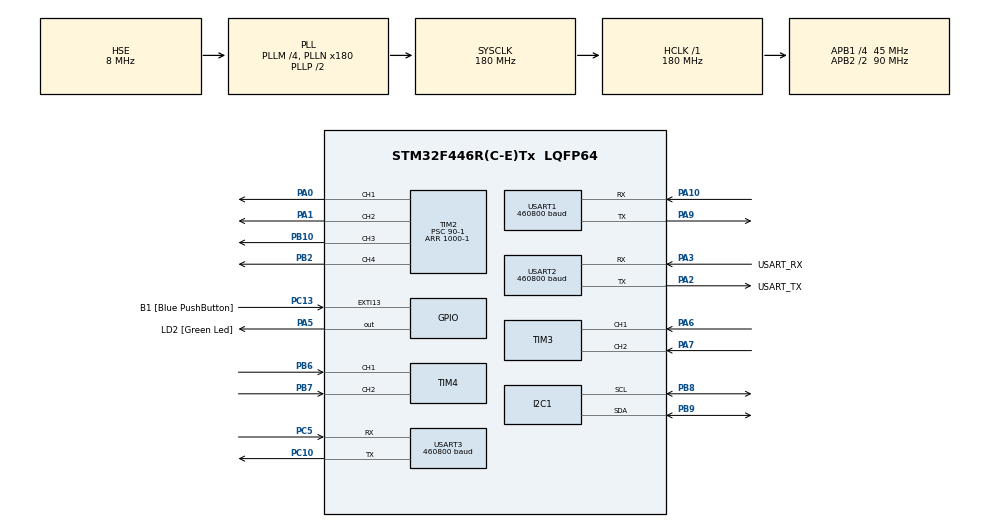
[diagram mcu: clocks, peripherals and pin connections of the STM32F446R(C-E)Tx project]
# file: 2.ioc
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Dma.Request0=USART3_RX
Dma.USART3_RX.0.Direction=DMA_PERIPH_TO_MEMORY
Dma.USART3_RX.0.FIFOMode=DMA_FIFOMODE_DISABLE
Dma.USART3_RX.0.Instance=DMA1_Stream1
Dma.USART3_RX.0.MemDataAlignment=DMA_MDATAALIGN_BYTE
Dma.USART3_RX.0.MemInc=DMA_MINC_ENABLE
Dma.USART3_RX.0.Mode=DMA_NORMAL
Dma.USART3_RX.0.PeriphDataAlignment=DMA_PDATAALIGN_BYTE
Dma.USART3_RX.0.PeriphInc=DMA_PINC_DISABLE
Dma.USART3_RX.0.Priority=DMA_PRIORITY_LOW
Mcu.Family=STM32F4
Mcu.Name=STM32F446R(C-E)Tx
Mcu.Package=LQFP64
NVIC.DMA1_Stream1_IRQn=true\:0\:0\:false\:false\:true\:false\:true\:true
NVIC.PriorityGroup=NVIC_PRIORITYGROUP_0
NVIC.TIM6_DAC_IRQn=true\:0\:0\:false\:false\:true\:true\:true\:true
NVIC.USART1_IRQn=true\:0\:0\:false\:false\:true\:true\:true\:true
NVIC.USART3_IRQn=true\:0\:0\:false\:false\:true\:true\:true\:true
PA0-WKUP.Signal=S_TIM2_CH1_ETR
PA1.Signal=S_TIM2_CH2
PA10.Mode=Asynchronous
PA10.Signal=USART1_RX
PA13.GPIO_Label=TMS
PA13.Mode=Serial_Wire
PA13.Signal=SYS_JTMS-SWDIO
PA14.GPIO_Label=TCK
PA14.Mode=Serial_Wire
PA14.Signal=SYS_JTCK-SWCLK
PA2.GPIO_Label=USART_TX
PA2.Mode=Asynchronous
PA2.Signal=USART2_TX
PA3.GPIO_Label=USART_RX
PA3.Mode=Asynchronous
PA3.Signal=USART2_RX
PA5.GPIO_Label=LD2 [Green Led]
PA5.Signal=GPIO_Output
PA6.Signal=S_TIM3_CH1
PA7.Signal=S_TIM3_CH2
PA9.Mode=Asynchronous
PA9.Signal=USART1_TX
PB10.Signal=S_TIM2_CH3
PB2.Signal=S_TIM2_CH4
PB3.GPIO_Label=SWO
PB3.Signal=SYS_JTDO-SWO
PB6.Signal=S_TIM4_CH1
PB7.Signal=S_TIM4_CH2
PB8.Mode=I2C
PB8.Signal=I2C1_SCL
PB9.Mode=I2C
PB9.Signal=I2C1_SDA
PC10.Mode=Asynchronous
PC10.Signal=USART3_TX
PC13.GPIO_Label=B1 [Blue PushButton]
PC13.GPIO_ModeDefaultEXTI=GPIO_MODE_IT_FALLING
PC13.Signal=GPXTI13
PC14-OSC32_IN.Mode=LSE-External-Oscillator
PC14-OSC32_IN.Signal=RCC_OSC32_IN
PC15-OSC32_OUT.Mode=LSE-External-Oscillator
PC15-OSC32_OUT.Signal=RCC_OSC32_OUT
PC5.Mode=Asynchronous
PC5.Signal=USART3_RX
PH0-OSC_IN.Mode=HSE-External-Oscillator
PH0-OSC_IN.Signal=RCC_OSC_IN
PH1-OSC_OUT.Mode=HSE-External-Oscillator
PH1-OSC_OUT.Signal=RCC_OSC_OUT
ProjectManager.HeapSize=0x200
ProjectManager.StackSize=0x400
ProjectManager.TargetToolchain=MDK-ARM V5.32
RCC.48MHZClocksFreq_Value=84000000
RCC.AHBFreq_Value=180000000
RCC.APB1CLKDivider=RCC_HCLK_DIV4
RCC.APB1Freq_Value=45000000
RCC.APB1TimFreq_Value=90000000
RCC.APB2CLKDivider=RCC_HCLK_DIV2
RCC.APB2Freq_Value=90000000
RCC.APB2TimFreq_Value=180000000
RCC.CortexFreq_Value=180000000
RCC.FLatency-AdvancedSettings=FLASH_LATENCY_5
RCC.HCLKFreq_Value=180000000
RCC.HSE_VALUE=8000000
RCC.HSI_VALUE=16000000
RCC.PLLM=4
RCC.PLLN=180
RCC.PLLSourceVirtual=RCC_PLLSOURCE_HSE
RCC.RCC_RTC_Clock_SourceVirtual=RCC_RTCCLKSOURCE_LSE
RCC.SYSCLKFreq_VALUE=180000000
RCC.SYSCLKSource=RCC_SYSCLKSOURCE_PLLCLK
RCC.USBFreq_Value=180000000
RCC.VCOOutputFreq_Value=360000000
RTC.Month=RTC_MONTH_OCTOBER
RTC.WeekDay=RTC_WEEKDAY_WEDNESDAY
RTC.Year=25
SH.S_TIM2_CH1_ETR.0=TIM2_CH1,PWM Generation1 CH1
SH.S_TIM2_CH2.0=TIM2_CH2,PWM Generation2 CH2
SH.S_TIM2_CH3.0=TIM2_CH3,PWM Generation3 CH3
SH.S_TIM2_CH4.0=TIM2_CH4,PWM Generation4 CH4
SH.S_TIM3_CH1.0=TIM3_CH1,Encoder_Interface
SH.S_TIM3_CH2.0=TIM3_CH2,Encoder_Interface
SH.S_TIM4_CH1.0=TIM4_CH1,Encoder_Interface
SH.S_TIM4_CH2.0=TIM4_CH2,Encoder_Interface
TIM2.AutoReloadPreload=TIM_AUTORELOAD_PRELOAD_DISABLE
TIM2.Channel-PWM\ Generation1\ CH1=TIM_CHANNEL_1
TIM2.Channel-PWM\ Generation2\ CH2=TIM_CHANNEL_2
TIM2.Channel-PWM\ Generation3\ CH3=TIM_CHANNEL_3
TIM2.Channel-PWM\ Generation4\ CH4=TIM_CHANNEL_4
TIM2.Period=1000-1
TIM2.Prescaler=90-1
TIM3.IC1Polarity=TIM_ICPOLARITY_FALLING
TIM3.IC2Polarity=TIM_ICPOLARITY_FALLING
TIM4.IC1Polarity=TIM_ICPOLARITY_RISING
TIM4.IC2Polarity=TIM_ICPOLARITY_RISING
TIM6.AutoReloadPreload=TIM_AUTORELOAD_PRELOAD_ENABLE
TIM6.Period=1000-1
TIM6.Prescaler=90-1
USART1.BaudRate=460800
USART1.VirtualMode=VM_ASYNC
USART2.BaudRate=460800
USART2.VirtualMode=VM_ASYNC
USART3.BaudRate=460800
USART3.VirtualMode=VM_ASYNC
VP_RTC_VS_RTC_Activate.Mode=RTC_Enabled
VP_RTC_VS_RTC_Calendar.Mode=RTC_Calendar
VP_TIM6_VS_ClockSourceINT.Mode=Enable_Timer
board=NUCLEO-F446RE

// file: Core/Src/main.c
/* USER CODE BEGIN Header */
/**
  ******************************************************************************
  * @file           : main.c
  * @brief          : Main program body
  ******************************************************************************
  * @attention
  *
  * Copyright (c) 2025 STMicroelectronics.
  * All rights reserved.
  *
  * This software is licensed under terms that can be found in the LICENSE file
  * in the root directory of this software component.
  * If no LICENSE file comes with this software, it is provided AS-IS.
  *
  ******************************************************************************
  */
/* USER CODE END Header */
#include "main.h"
#include "dma.h"
#include "i2c.h"
#include "rtc.h"
#include "tim.h"
#include "usart.h"
#include "gpio.h"

/* USER CODE BEGIN Includes */
#include "mpu6500.h"
/* USER CODE END Includes */

/* USER CODE BEGIN PV */
/* USER CODE BEGIN PV */

// Global variable declaration
uint8_t rx_buffer[1];           // USART1 receive buffer
uint8_t led_state = 0;          // LED state: 0-off, 1-on
unsigned int speed = 300;       // Motor speed (for open-loop control)
uint16_t rx_len = 0;            // Length of received data
uint8_t rx_complete = 0;        // Receive completion flag
unsigned char buffer[100];      // General-purpose buffer
///////////////////////////////////////////////////////
#define USART3_RX_BUFFER_SIZE 1024  // USART3 receive buffer size

#include <stdio.h>
#include <string.h>

// Laser radar related variables
static uint8_t uart3_rx_con = 0;       // Receive counter
static uint8_t uart3_rx_chksum;        // Checksum
static uint8_t uart3_rx_buf[100];      // Receive buffer
static uint8_t uart3_tx_buf[10];       // Transmit buffer
LaserPointTypeDef ax_ls_point[250];    // Laser radar data for one full scan
uint8_t uart3_rx_idx = 0;

// Laser radar A/B point data
uint16_t a_angle = 0;    // Angle of point A (around 0 degrees)
uint16_t a_distance = 0; // Distance of point A
uint16_t b_angle = 0;    // Angle of point B (around 90 degrees)
uint16_t b_distance = 0; // Distance of point B

// Encoder and timer related variables
unsigned int encoder_L_count = 0;
unsigned int encoder_R_count = 0;
unsigned int ms_count = 0;
unsigned int ms_200_count = 0;
unsigned int ms_200 = 0;
unsigned int s_time = 0;

// MPU6500 attitude angles (extern declaration)
extern float angle_pitch;
extern float angle_roll;
extern float angle_yaw;

// ------------------- Added: Closed-loop control related variables -------------------
#define PID_SPEED_KP 2.0f    // Speed PID proportional gain (needs tuning)
#define PID_SPEED_KI 0.5f    // Speed PID integral gain (needs tuning)
#define PID_SPEED_KD 0.1f    // Speed PID derivative gain (needs tuning)
#define TARGET_SPEED 500     // Target speed (encoder counts/second, needs tuning)

// Intermediate variables for left and right motor PID calculation
float left_pid_error;    // Current error of left motor (target - actual)
float left_pid_integral; // Integral term of left motor
float left_pid_deriv;    // Derivative term of left motor
float left_pid_last_err; // Last error of left motor
float left_pwm_output;   // Final PWM output of left motor

float right_pid_error;   // Current error of right motor (target - actual)
float right_pid_integral;// Integral term of right motor
float right_pid_deriv;   // Derivative term of right motor
float right_pid_last_err;// Last error of right motor
float right_pwm_output;  // Final PWM output of right motor

// Auxiliary variables for speed calculation
uint32_t left_encoder_last = 0;  // Last count of left encoder
uint32_t right_encoder_last = 0; // Last count of right encoder
float left_actual_speed = 0;     // Actual speed of left motor (counts/second)
float right_actual_speed = 0;    // Actual speed of right motor (counts/second)

// Direction control enumeration
typedef enum {
    STOP,
    FORWARD,
    BACKWARD,
    LEFT,
    RIGHT
} Direction_TypeDef;

Direction_TypeDef current_dir = STOP;  // Current movement direction

void PID_Reset(void)
{
    left_pid_integral = 0;
    right_pid_integral = 0;
    left_pid_last_err = 0;
    right_pid_last_err = 0;
    left_encoder_last = __HAL_TIM_GET_COUNTER(&htim3);
    right_encoder_last = __HAL_TIM_GET_COUNTER(&htim4);
}
///////////////////////////////////////////////////////

/* USER CODE END PV */

/* USER CODE END PV */

void SystemClock_Config(void);
/* USER CODE BEGIN PFP */

// Function declarations

void LED_Control(uint8_t state);
void Motor_Control(uint32_t left_pwm_1, uint32_t left_pwm_2, uint32_t right_pwm_1, uint32_t right_pwm_2);

void AX_LASER_Start(void);
void AX_LASER_Stop(void);
void LS_DataHandle(void);
void HAL_UART_RxCpltCallback(UART_HandleTypeDef *huart);
/* USER CODE END PFP */

/* USER CODE BEGIN 0 */

// Laser radar start command
void AX_LASER_Start(void)
{
  uint8_t i;

  uart3_tx_buf[0] = 0xA5;  // Frame header
  uart3_tx_buf[1] = 0x82;  // Start scanning command
  uart3_tx_buf[2] = 0x05;
  uart3_tx_buf[3] = 0x00;
  uart3_tx_buf[4] = 0x00;
  uart3_tx_buf[5] = 0x00;
  uart3_tx_buf[6] = 0x00;
  uart3_tx_buf[7] = 0x00;
  uart3_tx_buf[8] = 0x22;  // Checksum

  // Send start command via USART3
  for(i = 0; i < 9; i++)
  {
    HAL_UART_Transmit(&huart3, &uart3_tx_buf[i], 1, 100);
  }

  HAL_Delay(1000);
}

// Laser radar stop command
void AX_LASER_Stop(void)
{
  uint8_t i;

  uart3_tx_buf[0] = 0xA5;       // Frame header
  uart3_tx_buf[1] = 0x25;       // Stop command
  uart3_tx_buf[2] = 0xA5 + 0x25;  // Checksum

  // Send stop command via USART3
  for(i = 0; i < 3; i++)
  {
    HAL_UART_Transmit(&huart3, &uart3_tx_buf[i], 1, 100);
  }
}

// Laser radar data processing (maintain original logic)
void LS_DataHandle(void)
{
  uint8_t i;
  float temp;
  static uint16_t cnt = 0;
  static float angle_last = 0;
  static LaserPointTypeDef point[250];
  float angle_new = (((uint16_t)((uart3_rx_buf[3] & 0x7F) << 8)) + uart3_rx_buf[2]) / 64.0;
  float angle_area;

  if(angle_new > angle_last)
  {
    angle_area = (angle_new - angle_last) / 20;
    for(i = 0; i < 20; i++)
    {
      temp = angle_new + angle_area * i;
      point[cnt + i].angle = (temp > 360) ? (temp - 360) * 100 : temp * 100;
      point[cnt + i].distance = ((uint16_t)(uart3_rx_buf[5 + i * 4] << 8)) + uart3_rx_buf[4 + i * 4];
    }
  }
  else
  {
    angle_area = (angle_new + 360 - angle_last) / 20;
    for(i = 0; i < 20; i++)
    {
      temp = angle_new + angle_area * i;
      point[cnt + i].angle = (temp > 360) ? (temp - 360) * 100 : temp * 100;
      point[cnt + i].distance = ((uint16_t)(uart3_rx_buf[5 + i * 4] << 8)) + uart3_rx_buf[4 + i * 4];
    }
  }

  angle_last = angle_new;
  cnt += 20;

  // Complete data collection for one full circle
  if(cnt > 260)
  {
    memcpy(ax_ls_point, point, sizeof(point));
    cnt = 0;
  }
}

/**
  * @brief  Read and print the current time and date of RTC
  * @param  None
  * @retval None
  */
void PrintDateTime(void)
{
    RTC_TimeTypeDef sTime;
    RTC_DateTypeDef sDate;
    char datetime_str[64];

    // Get time (must get time first, then date)
    HAL_RTC_GetTime(&hrtc, &sTime, RTC_FORMAT_BIN);
    // Get date
    HAL_RTC_GetDate(&hrtc, &sDate, RTC_FORMAT_BIN);

    // Format datetime string
    sprintf(datetime_str, "Date: 20%02d-%02d-%02d Time: %02d:%02d:%02d\r\n",
            sDate.Year, sDate.Month, sDate.Date,
            sTime.Hours, sTime.Minutes, sTime.Seconds);

    // Transmit via USART2
    HAL_UART_Transmit(&huart1, (uint8_t *)datetime_str, strlen(datetime_str), HAL_MAX_DELAY);
}

/**
  * @brief  LED control function
  * @param  state: LED state (0-off, 1-on)
  * @retval None
  */
void LED_Control(uint8_t state)
{
    if(state)
    {
        led_state = 1;
        uint8_t msg[] = "LED on\r\n";
        HAL_UART_Transmit(&huart1, msg, sizeof(msg)-1, 0xFFFF);
    }
    else
    {
        led_state = 0;
        uint8_t msg[] = "LED off\r\n";
        HAL_UART_Transmit(&huart1, msg, sizeof(msg)-1, 0xFFFF);
    }
}
// ------------------- Motor control (open-loop) -------------------
/**
  * @brief  Motor control function
  * @param  left_pwm_1:  PWM1 value of left motor
  * @param  left_pwm_2:  PWM2 value of left motor
  * @param  right_pwm_1: PWM1 value of right motor
  * @param  right_pwm_2: PWM2 value of right motor
  * @retval None
  */
void Motor_Control(uint32_t left_pwm_1, uint32_t left_pwm_2, uint32_t right_pwm_1, uint32_t right_pwm_2)
{
    // Limit PWM value range, assuming 0-1000
    if(left_pwm_1 > 1000) left_pwm_1 = 900;
    if(left_pwm_2 > 1000) left_pwm_2 = 900;
    if(right_pwm_1 > 1000) right_pwm_1 = 900;
    if(right_pwm_2 > 1000) right_pwm_2 = 900;

    __HAL_TIM_SET_COMPARE(&htim2, TIM_CHANNEL_1, left_pwm_1);
    __HAL_TIM_SET_COMPARE(&htim2, TIM_CHANNEL_2, left_pwm_2);
    __HAL_TIM_SET_COMPARE(&htim2, TIM_CHANNEL_3, right_pwm_1);
    __HAL_TIM_SET_COMPARE(&htim2, TIM_CHANNEL_4, right_pwm_2);
}

// ------------------- Core functions for closed-loop control -------------------
// 1. Calculate actual speed of left and right motors (encoder counts/second)
void Calculate_Actual_Speed(void)
{
    uint32_t left_encoder_now = __HAL_TIM_GET_COUNTER(&htim3);
    uint32_t right_encoder_now = __HAL_TIM_GET_COUNTER(&htim4);

    // Handle encoder count overflow (32-bit counter)
    if (left_encoder_now >= left_encoder_last)
    {
        left_actual_speed = left_encoder_now - left_encoder_last;
    }
    else
    {
        left_actual_speed = left_encoder_now + (0xFFFFFFFF - left_encoder_last);
    }

    if (right_encoder_now >= right_encoder_last)
    {
        right_actual_speed = right_encoder_now - right_encoder_last;
    }
    else
    {
        right_actual_speed = right_encoder_now + (0xFFFFFFFF - right_encoder_last);
    }

    // Update last count
    left_encoder_last = left_encoder_now;
    right_encoder_last = right_encoder_now;

    // Print actual speed via UART (for debugging)
    sprintf(buffer, "Left Speed:%0.0f, Right Speed:%0.0f\r\n", left_actual_speed, right_actual_speed);
    HAL_UART_Transmit(&huart1, (uint8_t *)buffer, strlen(buffer), HAL_MAX_DELAY);
}
float PID_Controller(float target, float actual, float kp, float ki, float kd,
                     float *integral, float *last_err)
{
    float error = target - actual;  // Current error
    float output;

    // Proportional term
    float p_out = kp * error;

    // Integral term (limit integral saturation)
    *integral += error;
    if (*integral > 1000) *integral = 1000;
    if (*integral < -1000) *integral = -1000;
    float i_out = ki * (*integral);

    // Derivative term
    float deriv = error - *last_err;
    float d_out = kd * deriv;

    // Total output (limit PWM range, support positive and negative directions)
    output = p_out + i_out + d_out;
    if (output > 900) output = 900;
    if (output < -900) output = -900;  // Negative output represents reverse direction

    // Update last error
    *last_err = error;

    return output;
}

void Vehicle_ClosedLoop_Control(void)
{
    // 1. Calculate current actual speed (encoder difference)
    Calculate_Actual_Speed();

    // 2. Set target speeds for left and right motors according to current direction
    float left_target = 0, right_target = 0;
    switch(current_dir)
    {
        case FORWARD:
            left_target = TARGET_SPEED;   // Forward: left and right motors rotate forward in the same direction
            right_target = TARGET_SPEED;
            break;
        case BACKWARD:
            left_target = -TARGET_SPEED;  // Backward: left and right motors rotate backward in the same direction
            right_target = -TARGET_SPEED;
            break;
        case LEFT:
            left_target = -TARGET_SPEED/2;  // Left turn: left motor reverses, right motor forward (differential steering)
            right_target = TARGET_SPEED/2;
            break;
        case RIGHT:
            left_target = TARGET_SPEED/2;   // Right turn: left motor forward, right motor reverses (differential steering)
            right_target = -TARGET_SPEED/2;
            break;
        case STOP:
        default:
            left_target = 0;
            right_target = 0;
            break;
    }

    // 3. Calculate PWM outputs for left and right motors (with direction)
    left_pwm_output = PID_Controller(left_target, left_actual_speed,
                                     PID_SPEED_KP, PID_SPEED_KI, PID_SPEED_KD,
                                     &left_pid_integral, &left_pid_last_err);

    right_pwm_output = PID_Controller(right_target, right_actual_speed,
                                      PID_SPEED_KP, PID_SPEED_KI, PID_SPEED_KD,
                                      &right_pid_integral, &right_pid_last_err);

    // 4. Set motor direction and duty cycle according to PWM positive/negative values
    // Left motor: positive output→PWM1 active, negative output→PWM2 active
    uint32_t left_pwm1 = (left_pwm_output > 0) ? (uint32_t)left_pwm_output : 0;
    uint32_t left_pwm2 = (left_pwm_output < 0) ? (uint32_t)(-left_pwm_output) : 0;

    // Right motor: positive output→PWM1 active, negative output→PWM2 active
    uint32_t right_pwm1 = (right_pwm_output > 0) ? (uint32_t)right_pwm_output : 0;
    uint32_t right_pwm2 = (right_pwm_output < 0) ? (uint32_t)(-right_pwm_output) : 0;

    // 5. Drive the motors
    Motor_Control(left_pwm1, left_pwm2, right_pwm1, right_pwm2);
}
///////////////////////////////////////////////
/**
  * @brief  UART receive completion callback function
  * @param  huart: Pointer to UART handle
  * @retval None
  */
void HAL_UART_RxCpltCallback(UART_HandleTypeDef *huart)
{
    if(huart == &huart1)
    {
        HAL_UART_Transmit(&huart1, rx_buffer, 1, 0xFFFF);

        // Control LED and motor according to received character
        switch(rx_buffer[0])
        {
            case '1':
                LED_Control(1);  // Turn on LED
                break;
            case '0':
                LED_Control(0);  // Turn off LED
                break;
            case 'F':
                sprintf(buffer, "forward\r\n");
                HAL_UART_Transmit(&huart1, (uint8_t *)buffer, strlen(buffer), HAL_MAX_DELAY);
                Motor_Control(speed, 0, speed, 0);
                break;
            case 'B':
                sprintf(buffer, "back\r\n");
                HAL_UART_Transmit(&huart1, (uint8_t *)buffer, strlen(buffer), HAL_MAX_DELAY);
                Motor_Control(0, speed, 0, speed);
                break;
            case 'L':
                sprintf(buffer, "left\r\n");
                HAL_UART_Transmit(&huart1, (uint8_t *)buffer, strlen(buffer), HAL_MAX_DELAY);
                Motor_Control(speed, 0, 0, speed);
                break;
            case 'R':
                sprintf(buffer, "right\r\n");
                HAL_UART_Transmit(&huart1, (uint8_t *)buffer, strlen(buffer), HAL_MAX_DELAY);
                Motor_Control(0, speed, speed, 0);
                break;
            case '+':
                speed += 100;
                if(speed > 900) speed = 900;
                sprintf(buffer, "speed:%d\r\n", speed);
                HAL_UART_Transmit(&huart1, (uint8_t *)buffer, strlen(buffer), HAL_MAX_DELAY);
                break;
            case '-':
                speed -= 100;
                if(speed < 0) speed = 0;
                sprintf(buffer, "speed:%d\r\n", speed);
                HAL_UART_Transmit(&huart1, (uint8_t *)buffer, strlen(buffer), HAL_MAX_DELAY);
                break;
            case 'S':
                sprintf(buffer, "stop\r\n");
                HAL_UART_Transmit(&huart1, (uint8_t *)buffer, strlen(buffer), HAL_MAX_DELAY);
                Motor_Control(0, 0, 0, 0);
                break;

            // Added closed-loop control commands
            case 'c':  // Closed-loop forward (lowercase c to distinguish from open-loop)
                sprintf(buffer, "Closed-loop forward (Target:%.0f)\r\n", TARGET_SPEED);
                HAL_UART_Transmit(&huart1, (uint8_t *)buffer, strlen(buffer), HAL_MAX_DELAY);
                current_dir = FORWARD;
                PID_Reset();  // Reset PID parameters
                break;
            case 'b':  // Closed-loop backward (lowercase b)
                sprintf(buffer, "Closed-loop backward (Target:%.0f)\r\n", TARGET_SPEED);
                HAL_UART_Transmit(&huart1, (uint8_t *)buffer, strlen(buffer), HAL_MAX_DELAY);
                current_dir = BACKWARD;
                PID_Reset();
                break;
            case 'l':  // Closed-loop left turn (lowercase l)
                sprintf(buffer, "Closed-loop left (Target:%.0f)\r\n", TARGET_SPEED);
                HAL_UART_Transmit(&huart1, (uint8_t *)buffer, strlen(buffer), HAL_MAX_DELAY);
                current_dir = LEFT;
                PID_Reset();
                break;
            case 'r':  // Closed-loop right turn (lowercase r)
                sprintf(buffer, "Closed-loop right (Target:%.0f)\r\n", TARGET_SPEED);
                HAL_UART_Transmit(&huart1, (uint8_t *)buffer, strlen(buffer), HAL_MAX_DELAY);
                current_dir = RIGHT;
                PID_Reset();
                break;
            default:
                // Unknown command
                uint8_t msg[] = "status: unknown command\r\n";
                HAL_UART_Transmit(&huart1, msg, sizeof(msg)-1, 0xFFFF);
                break;
        }

        // Restart UART receive interrupt
        HAL_UART_Receive_IT(&huart1, rx_buffer, 1);
    }

  if (huart->Instance == USART3)
  {
    uint8_t Res = uart3_rx_buf[uart3_rx_idx];
    uint8_t temp;

    // Data parsing logic (maintain original protocol handling)
    if (uart3_rx_con < 3)
    {
      if(uart3_rx_con == 0)  // Frame header 1
      {
        if((Res >> 4) == LS_HEADER1)
        {
          uart3_rx_buf[uart3_rx_con] = Res;
          uart3_rx_con = 1;
        }
      }
      else if(uart3_rx_con == 1)  // Frame header 2
      {
        if((Res >> 4) == LS_HEADER2)
        {
          uart3_rx_buf[uart3_rx_con] = Res;
          uart3_rx_con = 2;
        }
        else
        {
          uart3_rx_con = 0;
        }
      }
      else  // Receive first data
      {
        uart3_rx_buf[uart3_rx_con] = Res;
        uart3_rx_con = 3;
        uart3_rx_chksum = Res;
      }
    }
    else  // Receive data body
    {
      if(uart3_rx_con < (LS_F_LEN - 1))
      {
        uart3_rx_buf[uart3_rx_con] = Res;
        uart3_rx_con++;
        uart3_rx_chksum ^= Res;
      }
      else
      {
        // Receive last data
        uart3_rx_buf[uart3_rx_con] = Res;
        uart3_rx_chksum ^= Res;

        // Checksum verification
        temp = ((uint8_t)(uart3_rx_buf[1] << 4)) + (uint8_t)(uart3_rx_buf[0] & 0x0F);
        if(uart3_rx_chksum == temp)
        {
          LS_DataHandle();  // Process valid data frame
        }

        uart3_rx_con = 0;  // Reset receive counter
      }
    }

    // Continue receiving next byte
    uart3_rx_idx = (uart3_rx_idx + 1) % 100;
    HAL_UART_Receive_IT(&huart3, &uart3_rx_buf[uart3_rx_idx], 1);
  }
}

/* TIM6 update interrupt callback function */
void HAL_TIM_PeriodElapsedCallback(TIM_HandleTypeDef *htim)
{
  if (htim->Instance == TIM6)
  {
    // Code executed every 1 second
    ms_count++;
    if(ms_count >= 1000)
    {
      ms_count = 0;

			sprintf(buffer, "Encoder L Count: %d, Encoder R Count: %d\r\n", encoder_R_count, encoder_L_count);
			HAL_UART_Transmit(&huart1, (uint8_t *)buffer, strlen(buffer), HAL_MAX_DELAY);
      // RTC time display can be added here
      PrintDateTime(); // Print current time and date
      // Read sensor data
      if (MPU6500_ReadData() == HAL_OK) {
        // Successfully read data, attitude angles can be used here
        // angle_yaw, angle_pitch, angle_roll global variables have been updated

        // Example: Print angle data via UART
        sprintf(buffer, "Yaw:%.2f, Pitch:%.2f, Roll:%.2f\r\n",
              angle_yaw, angle_pitch, angle_roll);
        HAL_UART_Transmit(&huart1, (uint8_t *)buffer, strlen(buffer), HAL_MAX_DELAY);
      }
    }

    ms_200_count++;
    if(ms_200_count >= 200)
    {
      ms_200_count = 0;
		// Output information
    sprintf(buffer, "A:%d D:%05d B:%d D:%05d \r\n",a_angle, a_distance,b_angle,b_distance);
    HAL_UART_Transmit(&huart1, (uint8_t *)buffer, strlen(buffer), HAL_MAX_DELAY);

      if (current_dir != STOP)  // Execute only in closed-loop mode
      {
        Vehicle_ClosedLoop_Control();
      }

    }

  }
}

/* USER CODE END 0 */

int main(void)
{

  /* MCU Configuration--------------------------------------------------------*/

  /* Reset of all peripherals, Initializes the Flash interface and the Systick. */
  HAL_Init();

  /* Configure the system clock */
  SystemClock_Config();

  /* Initialize all configured peripherals */
  MX_GPIO_Init();
  MX_DMA_Init();
  MX_USART2_UART_Init();
  MX_RTC_Init();
  MX_TIM3_Init();
  MX_TIM4_Init();
  MX_TIM2_Init();
  MX_I2C1_Init();
  MX_USART1_UART_Init();
  MX_USART3_UART_Init();
  MX_TIM6_Init();
  /* USER CODE BEGIN 2 */
  /* Start TIM6 timer interrupt */
  if (HAL_TIM_Base_Start_IT(&htim6) != HAL_OK)
  {
    Error_Handler();
  }
    /* Start UART receive interrupt, receive 1 byte each time */
    HAL_UART_Receive_IT(&huart1, rx_buffer, 1);
    /* Start DMA reception for UART3, using circular mode */
  /* Start interrupt reception for UART3, ready to receive data */
		HAL_UART_Receive_DMA(&huart3, (uint8_t *)uart3_rx_buf, 100);

		AX_LASER_Start();

    HAL_UART_Transmit(&huart1, (uint8_t *)"Hello World!\r\n", 15, HAL_MAX_DELAY);
		HAL_UART_Transmit(&huart2, (uint8_t *)"Hello World!\r\n", 15, HAL_MAX_DELAY);

    // Initialize encoders
    HAL_TIM_Encoder_Start(&htim3, TIM_CHANNEL_1);
    HAL_TIM_Encoder_Start(&htim3, TIM_CHANNEL_2);
    HAL_TIM_Encoder_Start(&htim4, TIM_CHANNEL_1);
    HAL_TIM_Encoder_Start(&htim4, TIM_CHANNEL_2);

    // Initialize PWM
    HAL_TIM_PWM_Start(&htim2, TIM_CHANNEL_1);
    HAL_TIM_PWM_Start(&htim2, TIM_CHANNEL_2);
    HAL_TIM_PWM_Start(&htim2, TIM_CHANNEL_3);
    HAL_TIM_PWM_Start(&htim2, TIM_CHANNEL_4);

    // Initialize to stop state
    __HAL_TIM_SET_COMPARE(&htim2, TIM_CHANNEL_1, 0);
    __HAL_TIM_SET_COMPARE(&htim2, TIM_CHANNEL_2, 0);
    __HAL_TIM_SET_COMPARE(&htim2, TIM_CHANNEL_3, 0);
    __HAL_TIM_SET_COMPARE(&htim2, TIM_CHANNEL_4, 0);

    // Initialize MPU6500
    if (MPU6500_Init() != HAL_OK) {
      // Initialization failure handling, can light up error indicator, etc.
      Error_Handler();
    }

    // Calibrate MPU6500 (keep the sensor stationary during calibration)
    if (MPU6500_Calibrate() != HAL_OK) {
      Error_Handler();
    }
  /* USER CODE END 2 */

  /* Infinite loop */
  /* USER CODE BEGIN WHILE */
    while (1)
    {
        // Encoder count reading and display can be added here
			encoder_L_count = __HAL_TIM_GET_COUNTER(&htim3);
			encoder_R_count = __HAL_TIM_GET_COUNTER(&htim4);

    ///////////////////////// Traverse all angles and distances ///////////////////////
  //  for (uint8_t i = 0; i < 250; i++)
  //     {
  //       if (ax_ls_point[i].distance > 0)  // Only send valid data
  //       {
  //         char buf[32];
  //         sprintf(buf, "Angle:%d, Distance:%d\r\n",
  //                 ax_ls_point[i].angle/100,
  //                 ax_ls_point[i].distance);
  //         HAL_UART_Transmit(&huart2, (uint8_t*)buf, strlen(buf), 100);
  //       }
  //     }

    /* USER CODE END WHILE */

    }
}

void SystemClock_Config(void)
{
  RCC_OscInitTypeDef RCC_OscInitStruct = {0};
  RCC_ClkInitTypeDef RCC_ClkInitStruct = {0};

  /** Configure the main internal regulator output voltage
  */
  __HAL_RCC_PWR_CLK_ENABLE();
  __HAL_PWR_VOLTAGESCALING_CONFIG(PWR_REGULATOR_VOLTAGE_SCALE1);

  /** Initializes the RCC Oscillators according to the specified parameters
  * in the RCC_OscInitTypeDef structure.
  */
  RCC_OscInitStruct.OscillatorType = RCC_OSCILLATORTYPE_HSE|RCC_OSCILLATORTYPE_LSE;
  RCC_OscInitStruct.HSEState = RCC_HSE_ON;
  RCC_OscInitStruct.LSEState = RCC_LSE_ON;
  RCC_OscInitStruct.PLL.PLLState = RCC_PLL_ON;
  RCC_OscInitStruct.PLL.PLLSource = RCC_PLLSOURCE_HSE;
  RCC_OscInitStruct.PLL.PLLM = 4;
  RCC_OscInitStruct.PLL.PLLN = 180;
  RCC_OscInitStruct.PLL.PLLP = RCC_PLLP_DIV2;
  RCC_OscInitStruct.PLL.PLLQ = 2;
  RCC_OscInitStruct.PLL.PLLR = 2;
  if (HAL_RCC_OscConfig(&RCC_OscInitStruct) != HAL_OK)
  {
    Error_Handler();
  }

  /** Activate the Over-Drive mode
  */
  if (HAL_PWREx_EnableOverDrive() != HAL_OK)
  {
    Error_Handler();
  }

  /** Initializes the CPU, AHB and APB buses clocks
  */
  RCC_ClkInitStruct.ClockType = RCC_CLOCKTYPE_HCLK|RCC_CLOCKTYPE_SYSCLK
                              |RCC_CLOCKTYPE_PCLK1|RCC_CLOCKTYPE_PCLK2;
  RCC_ClkInitStruct.SYSCLKSource = RCC_SYSCLKSOURCE_PLLCLK;
  RCC_ClkInitStruct.AHBCLKDivider = RCC_SYSCLK_DIV1;
  RCC_ClkInitStruct.APB1CLKDivider = RCC_HCLK_DIV4;
  RCC_ClkInitStruct.APB2CLKDivider = RCC_HCLK_DIV2;

  if (HAL_RCC_ClockConfig(&RCC_ClkInitStruct, FLASH_LATENCY_5) != HAL_OK)
  {
    Error_Handler();
  }
}

/* USER CODE BEGIN 4 */
// Other custom functions can be placed here
/* USER CODE END 4 */

/**
  * @brief  This function is executed when an error occurs
  * @retval None
  */
void Error_Handler(void)
{
    __disable_irq();
    while (1)
    {
    }
}
